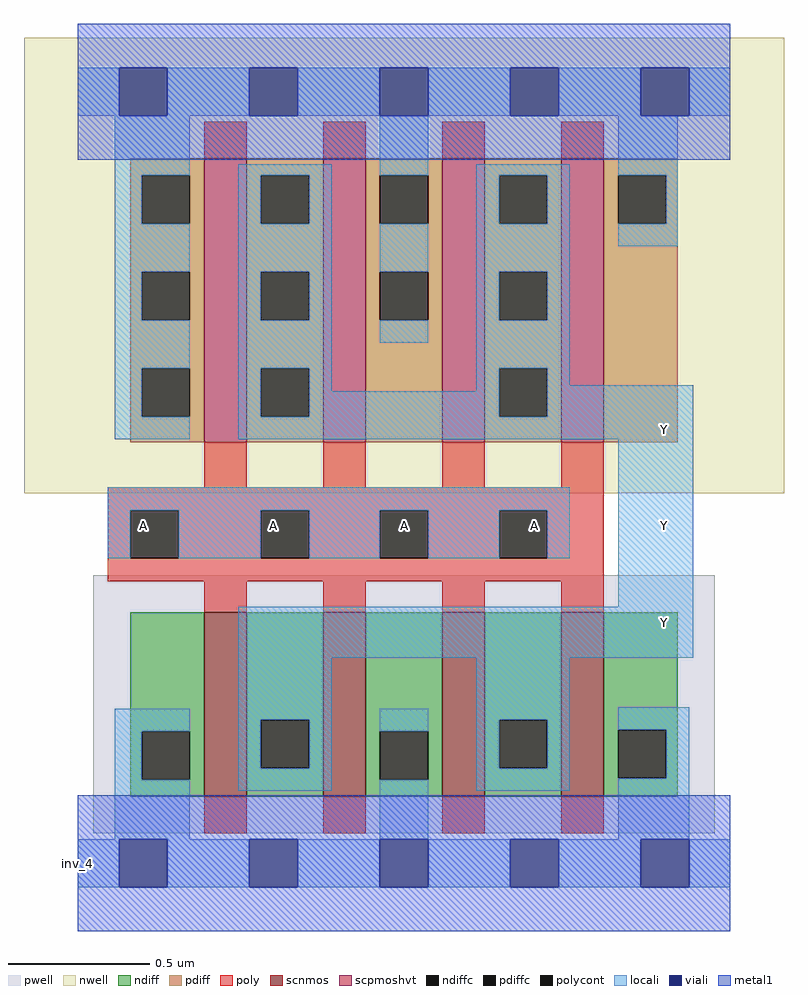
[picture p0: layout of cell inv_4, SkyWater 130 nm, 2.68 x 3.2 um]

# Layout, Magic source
magic
tech sky130B
magscale 1 2
<< nwell >>
rect 0 269 536 590
<< pwell >>
rect 49 29 487 211
<< scnmos >>
rect 127 55 157 185
rect 211 55 241 185
rect 295 55 325 185
rect 379 55 409 185
<< scpmoshvt >>
rect 127 305 157 505
rect 211 305 241 505
rect 295 305 325 505
rect 379 305 409 505
<< ndiff >>
rect 75 101 127 185
rect 75 67 83 101
rect 117 67 127 101
rect 75 55 127 67
rect 157 109 211 185
rect 157 75 167 109
rect 201 75 211 109
rect 157 55 211 75
rect 241 101 295 185
rect 241 67 251 101
rect 285 67 295 101
rect 241 55 295 67
rect 325 109 379 185
rect 325 75 335 109
rect 369 75 379 109
rect 325 55 379 75
rect 409 102 461 185
rect 409 68 419 102
rect 453 68 461 102
rect 409 55 461 68
<< pdiff >>
rect 75 493 127 505
rect 75 459 83 493
rect 117 459 127 493
rect 75 425 127 459
rect 75 391 83 425
rect 117 391 127 425
rect 75 357 127 391
rect 75 323 83 357
rect 117 323 127 357
rect 75 305 127 323
rect 157 493 211 505
rect 157 459 167 493
rect 201 459 211 493
rect 157 425 211 459
rect 157 391 167 425
rect 201 391 211 425
rect 157 357 211 391
rect 157 323 167 357
rect 201 323 211 357
rect 157 305 211 323
rect 241 493 295 505
rect 241 459 251 493
rect 285 459 295 493
rect 241 425 295 459
rect 241 391 251 425
rect 285 391 295 425
rect 241 305 295 391
rect 325 493 379 505
rect 325 459 335 493
rect 369 459 379 493
rect 325 425 379 459
rect 325 391 335 425
rect 369 391 379 425
rect 325 357 379 391
rect 325 323 335 357
rect 369 323 379 357
rect 325 305 379 323
rect 409 493 461 505
rect 409 459 419 493
rect 453 459 461 493
rect 409 305 461 459
<< ndiffc >>
rect 83 67 117 101
rect 167 75 201 109
rect 251 67 285 101
rect 335 75 369 109
rect 419 68 453 102
<< pdiffc >>
rect 83 459 117 493
rect 83 391 117 425
rect 83 323 117 357
rect 167 459 201 493
rect 167 391 201 425
rect 167 323 201 357
rect 251 459 285 493
rect 251 391 285 425
rect 335 459 369 493
rect 335 391 369 425
rect 335 323 369 357
rect 419 459 453 493
<< poly >>
rect 127 505 157 531
rect 211 505 241 531
rect 295 505 325 531
rect 379 505 409 531
rect 127 273 157 305
rect 211 273 241 305
rect 295 273 325 305
rect 379 273 409 305
rect 59 257 409 273
rect 59 223 75 257
rect 109 223 167 257
rect 201 223 251 257
rect 285 223 335 257
rect 369 223 409 257
rect 59 207 409 223
rect 127 185 157 207
rect 211 185 241 207
rect 295 185 325 207
rect 379 185 409 207
rect 127 29 157 55
rect 211 29 241 55
rect 295 29 325 55
rect 379 29 409 55
<< polycont >>
rect 75 223 109 257
rect 167 223 201 257
rect 251 223 285 257
rect 335 223 369 257
<< locali >>
rect 38 535 67 569
rect 101 535 159 569
rect 193 535 251 569
rect 285 535 343 569
rect 377 535 435 569
rect 469 535 498 569
rect 64 493 117 535
rect 64 459 83 493
rect 64 425 117 459
rect 64 391 83 425
rect 64 357 117 391
rect 64 323 83 357
rect 64 307 117 323
rect 151 493 217 501
rect 151 459 167 493
rect 201 459 217 493
rect 151 425 217 459
rect 151 391 167 425
rect 201 391 217 425
rect 151 357 217 391
rect 251 493 285 535
rect 251 425 285 459
rect 251 375 285 391
rect 319 493 385 501
rect 319 459 335 493
rect 369 459 385 493
rect 319 425 385 459
rect 419 493 461 535
rect 453 459 461 493
rect 419 443 461 459
rect 319 391 335 425
rect 369 391 385 425
rect 151 323 167 357
rect 201 341 217 357
rect 319 357 385 391
rect 319 341 335 357
rect 201 323 335 341
rect 369 345 385 357
rect 369 323 472 345
rect 151 307 472 323
rect 59 257 385 273
rect 59 223 75 257
rect 109 223 167 257
rect 201 223 251 257
rect 285 223 335 257
rect 369 223 385 257
rect 419 189 472 307
rect 151 153 472 189
rect 64 101 117 117
rect 64 67 83 101
rect 64 25 117 67
rect 151 109 217 153
rect 151 75 167 109
rect 201 75 217 109
rect 151 59 217 75
rect 251 101 285 117
rect 251 25 285 67
rect 319 109 385 153
rect 319 75 335 109
rect 369 75 385 109
rect 319 59 385 75
rect 419 102 469 118
rect 453 68 469 102
rect 419 25 469 68
rect 38 -9 67 25
rect 101 -9 159 25
rect 193 -9 251 25
rect 285 -9 343 25
rect 377 -9 435 25
rect 469 -9 498 25
<< viali >>
rect 67 535 101 569
rect 159 535 193 569
rect 251 535 285 569
rect 343 535 377 569
rect 435 535 469 569
rect 67 -9 101 25
rect 159 -9 193 25
rect 251 -9 285 25
rect 343 -9 377 25
rect 435 -9 469 25
<< metal1 >>
rect 38 569 498 600
rect 38 535 67 569
rect 101 535 159 569
rect 193 535 251 569
rect 285 535 343 569
rect 377 535 435 569
rect 469 535 498 569
rect 38 504 498 535
rect 38 25 498 56
rect 38 -9 67 25
rect 101 -9 159 25
rect 193 -9 251 25
rect 285 -9 343 25
rect 377 -9 435 25
rect 469 -9 498 25
rect 38 -40 498 -9
<< labels >>
rlabel comment s 38 8 38 8 4 inv_4
flabel comment s 452 178 452 178 0 FreeSans 340 0 0 0 Y
flabel comment s 452 246 452 246 0 FreeSans 340 0 0 0 Y
flabel comment s 452 314 452 314 0 FreeSans 340 0 0 0 Y
flabel comment s 84 246 84 246 0 FreeSans 340 0 0 0 A
flabel comment s 176 246 176 246 0 FreeSans 340 0 0 0 A
flabel comment s 268 246 268 246 0 FreeSans 340 0 0 0 A
flabel comment s 360 246 360 246 0 FreeSans 340 0 0 0 A
<< properties >>
string FIXED_BBOX 38 8 498 552
string path 0.950 0.200 12.450 0.200 
<< end >>
